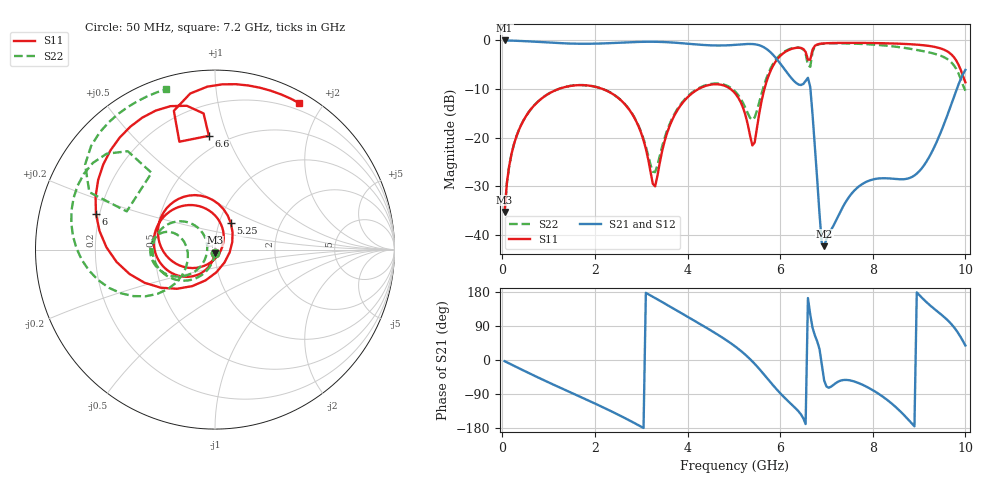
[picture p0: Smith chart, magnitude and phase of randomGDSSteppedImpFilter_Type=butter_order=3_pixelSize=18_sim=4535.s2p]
! freq	dB(S11)	phase(S11)	dB(S12)	phase(S12)
!  dB(S21)	phase(S21)	dB(S22)	phase(S22)
!S-par simulation data
#  GHz  S  DB  R 50
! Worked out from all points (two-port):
!   200 points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, 50 MHz to 10 GHz, reference 50 ohm
!   highest |S21| = -0.01 dB at 50 MHz (marker M1); lowest = -42.3 dB at 6.95 GHz (marker M2)
!   |S21| within 3 dB of the highest: start of sweep to 5.851 GHz
!   lowest |S11| = -35.3 dB at 50 MHz (marker M3), VSWR 1.04, Z = 49.9 - j1.72 ohm
!   |S11| at or under -10 dB: start of sweep to 1.212 GHz; 2.171 GHz to 4.236 GHz (2.065 GHz wide, 64.5 % of centre); 4.929 GHz to 5.66 GHz (730.8 MHz wide, 13.8 % of centre)
!   |S22| runs from -35.3 to -0.6 dB; largest |S21 - S12| = 0
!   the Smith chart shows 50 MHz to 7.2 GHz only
!   S11 on the Smith chart (normalised r, x): 50 MHz: 1.00, -0.03; 5.25 GHz: 1.14, +0.34; 6 GHz: 0.19, +0.14; 6.6 GHz: 0.41, +0.86; 7.2 GHz: 0.12, +1.72
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0.05  -35.26 -93.2  -0.01 -3.1  -0.01 -3.1  -35.25 -92.7
0.2  -23.30 -103.3  -0.04 -12.2  -0.04 -12.2  -23.29 -101.4
0.5  -15.75 -123.0  -0.16 -30.2  -0.16 -30.2  -15.74 -118.2
1.75  -9.19 159.5  -0.69 -100.8  -0.69 -100.8  -9.18 178.1
2.75  -14.35 90.4  -0.37 -159.7  -0.37 -159.7  -14.30 131.8
3.25  -29.48 -3.9  -0.27 167.0  -0.27 167.0  -26.99 165.2
3.4  -25.17 -94.3  -0.30 156.6  -0.30 156.6  -23.77 -141.8
4.25  -9.92 169.8  -0.87 96.4  -0.87 96.4  -9.78 -158.6
5.05  -11.14 92.7  -0.89 33.9  -0.89 33.9  -10.72 160.2
5.25  -15.32 58.9  -0.75 13.8  -0.75 13.8  -13.87 160.4
5.45  -20.96 -54.1  -0.78 -10.1  -0.78 -10.1  -15.82 -159.4
6  -3.19 163.3  -4.72 -87.5  -4.72 -87.5  -2.96 -170.5
6.4  -1.49 113.1  -9.07 -136.1  -9.07 -136.1  -1.47 150.1
6.6  -3.95 93.1  -7.68 163.5  -7.68 163.5  -5.12 129.6
6.7  -1.87 106.5  -15.31 84.9  -15.31 84.9  -2.27 155.4
6.95  -0.60 78.5  -42.30 -53.9  -42.30 -53.9  -0.64 125.5
7.2  -0.52 60.1  -37.18 -61.1  -37.18 -61.1  -0.59 106.9
7.8  -0.51 23.3  -29.37 -66.5  -29.37 -66.5  -0.74 62.9
8.35  -0.60 -7.3  -28.37 -109.0  -28.37 -109.0  -1.13 13.8
9.15  -1.05 -52.4  -25.05 153.7  -25.05 153.7  -2.32 -79.6
9.65  -2.51 -88.1  -14.35 100.9  -14.35 100.9  -4.11 -145.6
10  -8.61 -102.2  -6.06 38.3  -6.06 38.3  -10.34 -169.3
